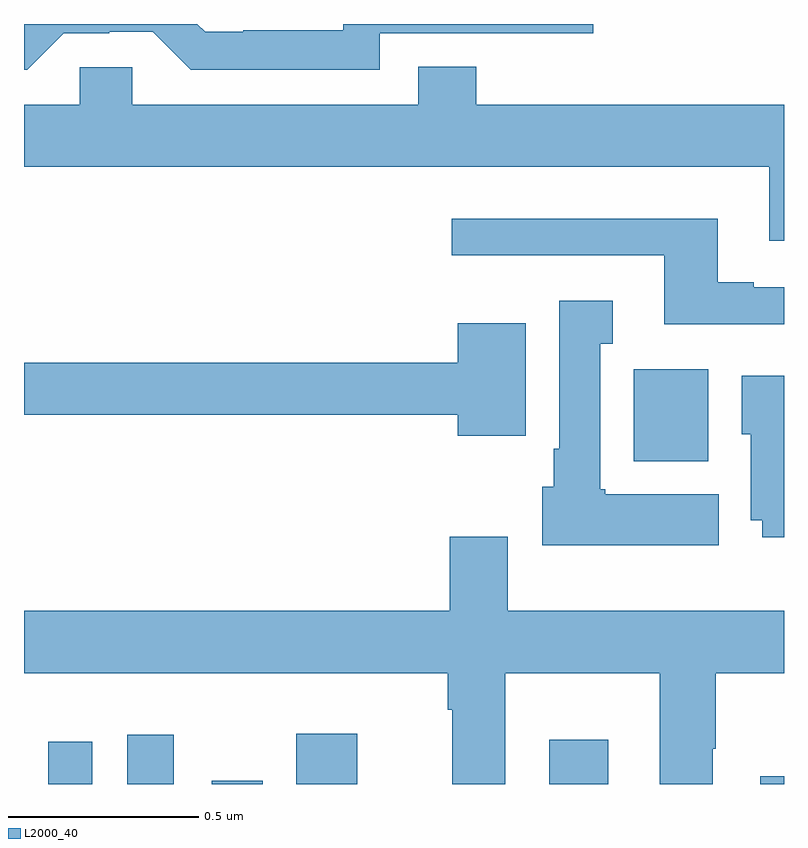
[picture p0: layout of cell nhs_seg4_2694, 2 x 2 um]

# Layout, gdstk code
import gdstk
lib = gdstk.Library(unit=1e-6, precision=1e-09)
def R(c, l, rs):  # rectangles x0, y0, x1, y1
    for r in rs: c.add(gdstk.rectangle(r[:2], r[2:], *l))
def P(c, l, *ps):  # polygons
    for p in ps: c.add(gdstk.Polygon(p, *l))
L2000_40 = (2000, 40)

nhs_seg4_2694 = lib.new_cell('nhs_seg4_2694')
R(nhs_seg4_2694, L2000_40, [(144.064,757.9,144.18,758.011), (144.272,757.9,144.394,758.029), (144.494,757.9,144.628,757.909), (144.716,757.9,144.877,758.032), (145.382,757.9,145.537,758.017), (145.938,757.9,146,757.921), (145.604,758.75,145.801,758.992)])
P(nhs_seg4_2694, L2000_40, [(144.936,759.876),(145.498,759.876),(145.498,759.9),(144.84,759.9),(144.84,759.883),(144.577,759.883),(144.577,759.879),(144.477,759.879),(144.456,759.9),(144,759.9),(144,759.78),(144.009,759.78),(144.105,759.876),(144.224,759.876),(144.224,759.879),(144.339,759.879),(144.439,759.779),(144.936,759.779)],
  [(146,759.688),(145.19,759.688),(145.19,759.787),(145.037,759.787),(145.037,759.688),(144.285,759.688),(144.285,759.786),(144.147,759.786),(144.147,759.688),(144,759.688),(144,759.524),(145.961,759.524),(145.961,759.33),(146,759.33)],
  [(146,759.207),(145.921,759.207),(145.921,759.22),(145.825,759.22),(145.825,759.388),(145.125,759.388),(145.125,759.291),(145.685,759.291),(145.685,759.11),(146,759.11)],
  [(145.828,758.662),(145.53,758.662),(145.53,758.676),(145.516,758.676),(145.516,759.059),(145.549,759.059),(145.549,759.172),(145.409,759.172),(145.409,758.782),(145.394,758.782),(145.394,758.682),(145.364,758.682),(145.364,758.528),(145.828,758.528)],
  [(145.321,759.112),(145.142,759.112),(145.142,759.008),(144,759.008),(144,758.872),(145.142,758.872),(145.142,758.816),(145.321,758.816)],
  [(146,758.974),(145.889,758.974),(145.889,758.82),(145.913,758.82),(145.913,758.594),(145.943,758.594),(145.943,758.55),(146,758.55)],
  [(145.267,758.192),(145.673,758.192),(145.673,757.9),(145.813,757.9),(145.813,757.993),(145.821,757.993),(145.821,758.192),(146,758.192),(146,758.356),(145.273,758.356),(145.273,758.551),(145.121,758.551),(145.121,758.356),(144,758.356),(144,758.192),(145.115,758.192),(145.115,758.096),(145.127,758.096),(145.127,757.9),(145.267,757.9)])

lib.write_gds('nhs_seg4_2694.gds')
